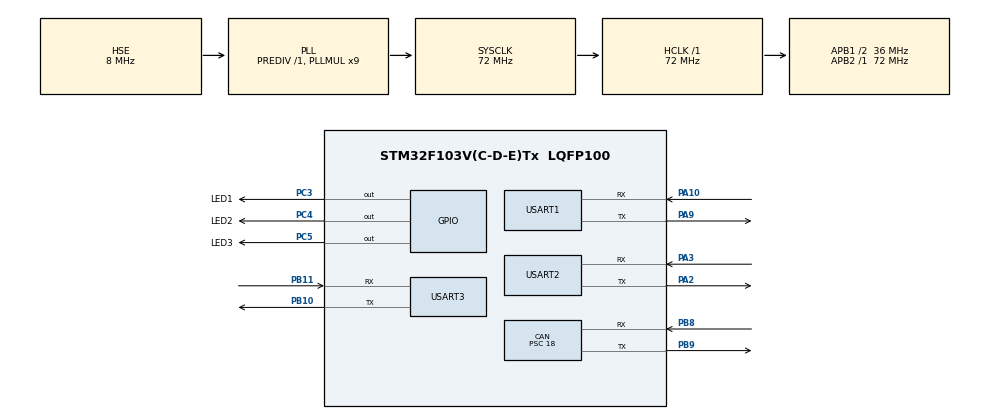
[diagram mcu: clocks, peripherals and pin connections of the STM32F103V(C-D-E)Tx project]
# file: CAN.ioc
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CAN.BS1=CAN_BS1_7TQ
CAN.BS2=CAN_BS2_8TQ
CAN.CalculateTimeBit=8000
CAN.CalculateTimeQuantum=500.0
CAN.Prescaler=18
FREERTOS.Tasks01=Task0,0,256,Func_Task0,Default,NULL,Dynamic,NULL,NULL;Task1,0,256,Func_Task1,Default,NULL,Dynamic,NULL,NULL
Mcu.Family=STM32F1
Mcu.Name=STM32F103V(C-D-E)Tx
Mcu.Package=LQFP100
NVIC.PriorityGroup=NVIC_PRIORITYGROUP_4
NVIC.TIM4_IRQn=true\:0\:0\:false\:false\:true\:false\:false
NVIC.TimeBase=TIM4_IRQn
NVIC.TimeBaseIP=TIM4
NVIC.USART1_IRQn=true\:6\:0\:true\:true\:true\:1\:true\:true
NVIC.USART2_IRQn=true\:5\:0\:true\:true\:true\:2\:true\:true
NVIC.USART3_IRQn=true\:7\:0\:true\:true\:true\:3\:true\:true
NVIC.USB_LP_CAN1_RX0_IRQn=true\:5\:0\:false\:false\:true\:true\:true
OSC_IN.Mode=HSE-External-Oscillator
OSC_IN.Signal=RCC_OSC_IN
OSC_OUT.Mode=HSE-External-Oscillator
OSC_OUT.Signal=RCC_OSC_OUT
PA10.Mode=Asynchronous
PA10.Signal=USART1_RX
PA13.Mode=Serial_Wire
PA13.Signal=SYS_JTMS-SWDIO
PA14.Mode=Serial_Wire
PA14.Signal=SYS_JTCK-SWCLK
PA2.Mode=Asynchronous
PA2.Signal=USART2_TX
PA3.Mode=Asynchronous
PA3.Signal=USART2_RX
PA9.Mode=Asynchronous
PA9.Signal=USART1_TX
PB10.Mode=Asynchronous
PB10.Signal=USART3_TX
PB11.Mode=Asynchronous
PB11.Signal=USART3_RX
PB8.Mode=Master
PB8.Signal=CAN_RX
PB9.Mode=Master
PB9.Signal=CAN_TX
PC3.GPIO_Label=LED1
PC3.Signal=GPIO_Output
PC4.GPIO_Label=LED2
PC4.Signal=GPIO_Output
PC5.GPIO_Label=LED3
PC5.Signal=GPIO_Output
ProjectManager.HeapSize=0x200
ProjectManager.StackSize=0x400
ProjectManager.TargetToolchain=Makefile
RCC.AHBFreq_Value=72000000
RCC.APB1CLKDivider=RCC_HCLK_DIV2
RCC.APB1Freq_Value=36000000
RCC.APB1TimFreq_Value=72000000
RCC.APB2Freq_Value=72000000
RCC.APB2TimFreq_Value=72000000
RCC.HCLKFreq_Value=72000000
RCC.PLLMUL=RCC_PLL_MUL9
RCC.PLLSourceVirtual=RCC_PLLSOURCE_HSE
RCC.SYSCLKFreq_VALUE=72000000
RCC.SYSCLKSource=RCC_SYSCLKSOURCE_PLLCLK
RCC.USBFreq_Value=72000000
USART1.VirtualMode=VM_ASYNC
USART2.VirtualMode=VM_ASYNC
USART3.VirtualMode=VM_ASYNC
VP_FREERTOS_VS_ENABLE.Mode=Enabled
VP_SYS_VS_tim4.Mode=TIM4
board=custom

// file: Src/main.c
/**
  ******************************************************************************
  * @file           : main.c
  * @brief          : Main program body
  ******************************************************************************
  * This notice applies to any and all portions of this file
  * that are not between comment pairs USER CODE BEGIN and
  * USER CODE END. Other portions of this file, whether
  * inserted by the user or by software development tools
  * are owned by their respective copyright owners.
  *
  * Copyright (c) 2019 STMicroelectronics International N.V.
  * All rights reserved.
  *
  * Redistribution and use in source and binary forms, with or without
  * modification, are permitted, provided that the following conditions are met:
  *
  * 1. Redistribution of source code must retain the above copyright notice,
  *    this list of conditions and the following disclaimer.
  * 2. Redistributions in binary form must reproduce the above copyright notice,
  *    this list of conditions and the following disclaimer in the documentation
  *    and/or other materials provided with the distribution.
  * 3. Neither the name of STMicroelectronics nor the names of other
  *    contributors to this software may be used to endorse or promote products
  *    derived from this software without specific written permission.
  * 4. This software, including modifications and/or derivative works of this
  *    software, must execute solely and exclusively on microcontroller or
  *    microprocessor devices manufactured by or for STMicroelectronics.
  * 5. Redistribution and use of this software other than as permitted under
  *    this license is void and will automatically terminate your rights under
  *    this license.
  *
  * THIS SOFTWARE IS PROVIDED BY STMICROELECTRONICS AND CONTRIBUTORS "AS IS"
  * AND ANY EXPRESS, IMPLIED OR STATUTORY WARRANTIES, INCLUDING, BUT NOT
  * LIMITED TO, THE IMPLIED WARRANTIES OF MERCHANTABILITY, FITNESS FOR A
  * PARTICULAR PURPOSE AND NON-INFRINGEMENT OF THIRD PARTY INTELLECTUAL PROPERTY
  * RIGHTS ARE DISCLAIMED TO THE FULLEST EXTENT PERMITTED BY LAW. IN NO EVENT
  * SHALL STMICROELECTRONICS OR CONTRIBUTORS BE LIABLE FOR ANY DIRECT, INDIRECT,
  * INCIDENTAL, SPECIAL, EXEMPLARY, OR CONSEQUENTIAL DAMAGES (INCLUDING, BUT NOT
  * LIMITED TO, PROCUREMENT OF SUBSTITUTE GOODS OR SERVICES; LOSS OF USE, DATA,
  * OR PROFITS; OR BUSINESS INTERRUPTION) HOWEVER CAUSED AND ON ANY THEORY OF
  * LIABILITY, WHETHER IN CONTRACT, STRICT LIABILITY, OR TORT (INCLUDING
  * NEGLIGENCE OR OTHERWISE) ARISING IN ANY WAY OUT OF THE USE OF THIS SOFTWARE,
  * EVEN IF ADVISED OF THE POSSIBILITY OF SUCH DAMAGE.
  *
  ******************************************************************************
  */
#include "main.h"
#include "stm32f1xx_hal.h"
#include "cmsis_os.h"

CAN_HandleTypeDef hcan;

UART_HandleTypeDef huart1;
UART_HandleTypeDef huart2;
UART_HandleTypeDef huart3;

osThreadId Task0Handle;
osThreadId Task1Handle;

/* USER CODE BEGIN PV */
/* Private variables ---------------------------------------------------------*/
CAN_FilterConfTypeDef  sFliterConfig;
CanTxMsgTypeDef TxMessage;
CanRxMsgTypeDef RxMessage;

uint8_t aRxBuffer1[1];
uint8_t aRxBuffer2[1];
uint8_t aRxBuffer3[1];

uint8_t aRxBuffer2_Data[4];
uint8_t aRxBuffer2_Data_flag = 0;
uint8_t aRxBuffer2_Data_Index = 0;
/* USER CODE END PV */

void SystemClock_Config(void);
static void MX_GPIO_Init(void);
static void MX_CAN_Init(void);
static void MX_USART1_UART_Init(void);
static void MX_USART2_UART_Init(void);
static void MX_USART3_UART_Init(void);
void Func_Task0(void const * argument);
void Func_Task1(void const * argument);
static void MX_NVIC_Init(void);

/* USER CODE BEGIN PFP */
/* Private function prototypes -----------------------------------------------*/

/* USER CODE END PFP */

int main(void)
{

  /* MCU Configuration----------------------------------------------------------*/

  /* Reset of all peripherals, Initializes the Flash interface and the Systick. */
  HAL_Init();

  /* Configure the system clock */
  SystemClock_Config();

  /* Initialize all configured peripherals */
  MX_GPIO_Init();
  MX_CAN_Init();
  MX_USART1_UART_Init();
  MX_USART2_UART_Init();
  MX_USART3_UART_Init();

  /* Initialize interrupts */
  MX_NVIC_Init();

  /* Create the thread(s) */
  /* definition and creation of Task0 */
  osThreadDef(Task0, Func_Task0, osPriorityNormal, 0, 256);
  Task0Handle = osThreadCreate(osThread(Task0), NULL);

  /* definition and creation of Task1 */
  osThreadDef(Task1, Func_Task1, osPriorityNormal, 0, 256);
  Task1Handle = osThreadCreate(osThread(Task1), NULL);

  /* Start scheduler */
  osKernelStart();

  /* We should never get here as control is now taken by the scheduler */

  /* Infinite loop */
  while (1)
  {

  }

}

void SystemClock_Config(void)
{

  RCC_OscInitTypeDef RCC_OscInitStruct;
  RCC_ClkInitTypeDef RCC_ClkInitStruct;

    /**Initializes the CPU, AHB and APB busses clocks
    */
  RCC_OscInitStruct.OscillatorType = RCC_OSCILLATORTYPE_HSE;
  RCC_OscInitStruct.HSEState = RCC_HSE_ON;
  RCC_OscInitStruct.HSEPredivValue = RCC_HSE_PREDIV_DIV1;
  RCC_OscInitStruct.HSIState = RCC_HSI_ON;
  RCC_OscInitStruct.PLL.PLLState = RCC_PLL_ON;
  RCC_OscInitStruct.PLL.PLLSource = RCC_PLLSOURCE_HSE;
  RCC_OscInitStruct.PLL.PLLMUL = RCC_PLL_MUL9;
  if (HAL_RCC_OscConfig(&RCC_OscInitStruct) != HAL_OK)
  {
    _Error_Handler(__FILE__, __LINE__);
  }

    /**Initializes the CPU, AHB and APB busses clocks
    */
  RCC_ClkInitStruct.ClockType = RCC_CLOCKTYPE_HCLK|RCC_CLOCKTYPE_SYSCLK
                              |RCC_CLOCKTYPE_PCLK1|RCC_CLOCKTYPE_PCLK2;
  RCC_ClkInitStruct.SYSCLKSource = RCC_SYSCLKSOURCE_PLLCLK;
  RCC_ClkInitStruct.AHBCLKDivider = RCC_SYSCLK_DIV1;
  RCC_ClkInitStruct.APB1CLKDivider = RCC_HCLK_DIV2;
  RCC_ClkInitStruct.APB2CLKDivider = RCC_HCLK_DIV1;

  if (HAL_RCC_ClockConfig(&RCC_ClkInitStruct, FLASH_LATENCY_2) != HAL_OK)
  {
    _Error_Handler(__FILE__, __LINE__);
  }

    /**Configure the Systick interrupt time
    */
  HAL_SYSTICK_Config(HAL_RCC_GetHCLKFreq()/1000);

    /**Configure the Systick
    */
  HAL_SYSTICK_CLKSourceConfig(SYSTICK_CLKSOURCE_HCLK);

  /* SysTick_IRQn interrupt configuration */
  HAL_NVIC_SetPriority(SysTick_IRQn, 15, 0);
}

/**
  * @brief NVIC Configuration.
  * @retval None
  */
static void MX_NVIC_Init(void)
{
  /* USART1_IRQn interrupt configuration */
  HAL_NVIC_SetPriority(USART1_IRQn, 6, 0);
  HAL_NVIC_EnableIRQ(USART1_IRQn);
  /* USART2_IRQn interrupt configuration */
  HAL_NVIC_SetPriority(USART2_IRQn, 5, 0);
  HAL_NVIC_EnableIRQ(USART2_IRQn);
  /* USART3_IRQn interrupt configuration */
  HAL_NVIC_SetPriority(USART3_IRQn, 7, 0);
  HAL_NVIC_EnableIRQ(USART3_IRQn);
}

/* CAN init function */
static void MX_CAN_Init(void)
{

  hcan.Instance = CAN1;
  hcan.Init.Prescaler = 18;
  hcan.Init.Mode = CAN_MODE_NORMAL;
  hcan.Init.SJW = CAN_SJW_1TQ;
  hcan.Init.BS1 = CAN_BS1_7TQ;
  hcan.Init.BS2 = CAN_BS2_8TQ;
  hcan.Init.TTCM = DISABLE;
  hcan.Init.ABOM = DISABLE;
  hcan.Init.AWUM = DISABLE;
  hcan.Init.NART = DISABLE;
  hcan.Init.RFLM = DISABLE;
  hcan.Init.TXFP = DISABLE;
  if (HAL_CAN_Init(&hcan) != HAL_OK)
  {
    _Error_Handler(__FILE__, __LINE__);
  }

}

/* USART1 init function */
static void MX_USART1_UART_Init(void)
{

  huart1.Instance = USART1;
  huart1.Init.BaudRate = 115200;
  huart1.Init.WordLength = UART_WORDLENGTH_8B;
  huart1.Init.StopBits = UART_STOPBITS_1;
  huart1.Init.Parity = UART_PARITY_NONE;
  huart1.Init.Mode = UART_MODE_TX_RX;
  huart1.Init.HwFlowCtl = UART_HWCONTROL_NONE;
  huart1.Init.OverSampling = UART_OVERSAMPLING_16;
  if (HAL_UART_Init(&huart1) != HAL_OK)
  {
    _Error_Handler(__FILE__, __LINE__);
  }

}

/* USART2 init function */
static void MX_USART2_UART_Init(void)
{

  huart2.Instance = USART2;
  huart2.Init.BaudRate = 115200;
  huart2.Init.WordLength = UART_WORDLENGTH_8B;
  huart2.Init.StopBits = UART_STOPBITS_1;
  huart2.Init.Parity = UART_PARITY_NONE;
  huart2.Init.Mode = UART_MODE_TX_RX;
  huart2.Init.HwFlowCtl = UART_HWCONTROL_NONE;
  huart2.Init.OverSampling = UART_OVERSAMPLING_16;
  if (HAL_UART_Init(&huart2) != HAL_OK)
  {
    _Error_Handler(__FILE__, __LINE__);
  }

}

/* USART3 init function */
static void MX_USART3_UART_Init(void)
{

  huart3.Instance = USART3;
  huart3.Init.BaudRate = 115200;
  huart3.Init.WordLength = UART_WORDLENGTH_8B;
  huart3.Init.StopBits = UART_STOPBITS_1;
  huart3.Init.Parity = UART_PARITY_NONE;
  huart3.Init.Mode = UART_MODE_TX_RX;
  huart3.Init.HwFlowCtl = UART_HWCONTROL_NONE;
  huart3.Init.OverSampling = UART_OVERSAMPLING_16;
  if (HAL_UART_Init(&huart3) != HAL_OK)
  {
    _Error_Handler(__FILE__, __LINE__);
  }

}

/** Configure pins as
        * Analog
        * Input
        * Output
        * EVENT_OUT
        * EXTI
*/
static void MX_GPIO_Init(void)
{

  GPIO_InitTypeDef GPIO_InitStruct;

  /* GPIO Ports Clock Enable */
  __HAL_RCC_GPIOC_CLK_ENABLE();
  __HAL_RCC_GPIOA_CLK_ENABLE();
  __HAL_RCC_GPIOB_CLK_ENABLE();

  /*Configure GPIO pin Output Level */
  HAL_GPIO_WritePin(GPIOC, LED1_Pin|LED2_Pin|LED3_Pin, GPIO_PIN_RESET);

  /*Configure GPIO pins : LED1_Pin LED2_Pin LED3_Pin */
  GPIO_InitStruct.Pin = LED1_Pin|LED2_Pin|LED3_Pin;
  GPIO_InitStruct.Mode = GPIO_MODE_OUTPUT_PP;
  GPIO_InitStruct.Pull = GPIO_NOPULL;
  GPIO_InitStruct.Speed = GPIO_SPEED_FREQ_LOW;
  HAL_GPIO_Init(GPIOC, &GPIO_InitStruct);

}

/* USER CODE BEGIN 4 */
/* USER CODE BEGIN 4 */
void HAL_UART_RxCpltCallback(UART_HandleTypeDef *huart)
{
  if(huart->Instance == USART2)
  {
	HAL_UART_Transmit(&huart3,aRxBuffer2,1,100);	// 接收到数据马上使用串口3发送出去
    // aRxBuffer2_Data[aRxBuffer2_Data_Index] = aRxBuffer2[1];
    // aRxBuffer2_Data_Index++;
    // if (aRxBuffer2_Data_Index == 3)
    // {
    //   aRxBuffer2_Data_flag = 1;
    //   aRxBuffer2_Data_Index = 0;
    // }
	HAL_UART_Receive_IT(&huart2,aRxBuffer2,1);		// 重新使能串口2接收中断
  }
}
/* USER CODE END 4 */

/* Func_Task0 function */
void Func_Task0(void const * argument)
{

  /* USER CODE BEGIN 5 */
  hcan.pTxMsg = &TxMessage;    // hc.pTxMsg 按 TxMessage格式

  HAL_UART_Transmit(&huart1,"\r\nFunc_Task0\r\n",14,10);

  hcan.pTxMsg -> ExtId = 0x1314;
  hcan.pTxMsg -> RTR = CAN_RTR_DATA;
  hcan.pTxMsg -> IDE = CAN_ID_EXT;
  hcan.pTxMsg -> DLC = 2;
  hcan.pTxMsg -> Data[0] = 0xAB;
  hcan.pTxMsg -> Data[1] = 0xCD;

  HAL_CAN_Transmit(&hcan, 10);  // 注意第二个参数是timeout，与常规库函数不同
  /* Infinite loop */
  for(;;)
  {
    osDelay(1000);
    HAL_GPIO_WritePin(LED1_GPIO_Port, LED1_Pin, GPIO_PIN_RESET);
    HAL_CAN_Transmit(&hcan, 10);

    osDelay(1000);
    HAL_GPIO_WritePin(LED1_GPIO_Port, LED1_Pin, GPIO_PIN_SET);
    HAL_CAN_Transmit(&hcan, 10);
  }
  /* USER CODE END 5 */
}

/* Func_Task1 function */
void Func_Task1(void const * argument)
{
  /* USER CODE BEGIN Func_Task1 */
  HAL_UART_Receive_IT(&huart2,aRxBuffer2,1);
  HAL_UART_Transmit(&huart3,"\r\nFunc_Task1\r\n",14,10);

  HAL_UART_Transmit(&huart2,"AT+CWMODE=2\r\n",13,10);
  osDelay(5000);
  HAL_UART_Transmit(&huart2,"AT+RST\r\n",8,10);
  osDelay(10000);
  HAL_UART_Transmit(&huart2,"AT+CWSAP=\"PYY_8266\",\"12345678\",6,4\r\n",36,10);
  osDelay(50);
  HAL_UART_Transmit(&huart2,"AT+CIPMUX=1\r\n",13,10);
  osDelay(50);
  HAL_UART_Transmit(&huart2,"AT+CIPSERVER=1,333\r\n",20,10);
  osDelay(10000);
  HAL_UART_Transmit(&huart2,"AT+CIFSR\r\n",10,10);
  osDelay(50);

  HAL_UART_Transmit(&huart3,"\r\nFINISHED\r\n",12,10);
  /* Infinite loop */
  for(;;)
  {
    osDelay(1000);
    // if (aRxBuffer2_Data_flag == 1)
    //   HAL_UART_Transmit(&huart3,aRxBuffer2_Data,4,10);
    // HAL_UART_Transmit(&huart3,"\r\nFunc_Task1_Loop\r\n",19,10);
  }
  /* USER CODE END Func_Task1 */
}

void HAL_TIM_PeriodElapsedCallback(TIM_HandleTypeDef *htim)
{
  if (htim->Instance == TIM4) {
    HAL_IncTick();
  }
}

void _Error_Handler(char *file, int line)
{
  while(1)
  {
  }
}

/************************ (C) COPYRIGHT STMicroelectronics *****END OF FILE****/
